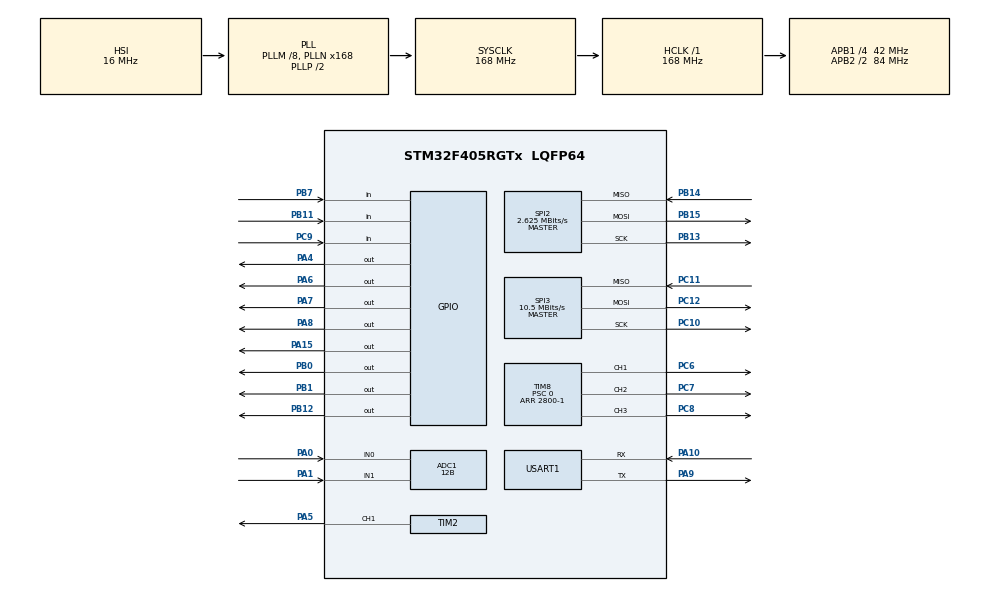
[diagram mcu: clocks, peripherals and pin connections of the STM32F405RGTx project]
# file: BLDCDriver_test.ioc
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ADC1.Channel-0\#ChannelRegularConversion=ADC_CHANNEL_1
ADC1.Channel-10\#ChannelRegularConversion=ADC_CHANNEL_0
ADC1.ContinuousConvMode=DISABLE
ADC1.DMAContinuousRequests=ENABLE
ADC1.DiscontinuousConvMode=DISABLE
ADC1.EOCSelection=ADC_EOC_SEQ_CONV
ADC1.ExternalTrigConv=ADC_EXTERNALTRIGCONV_T8_TRGO
ADC1.InjNumberOfConversion=0
ADC1.Mode=__NULL
ADC1.NbrOfConversion=2
ADC1.NbrOfConversionFlag=1
ADC1.Rank-0\#ChannelRegularConversion=1
ADC1.Rank-10\#ChannelRegularConversion=2
ADC1.Resolution=ADC_RESOLUTION_12B
ADC1.SamplingTime-0\#ChannelRegularConversion=ADC_SAMPLETIME_28CYCLES
ADC1.SamplingTime-10\#ChannelRegularConversion=ADC_SAMPLETIME_28CYCLES
ADC1.ScanConvMode=ENABLE
ADC1.master=1
Dma.ADC1.2.Direction=DMA_PERIPH_TO_MEMORY
Dma.ADC1.2.FIFOMode=DMA_FIFOMODE_DISABLE
Dma.ADC1.2.Instance=DMA2_Stream0
Dma.ADC1.2.MemDataAlignment=DMA_MDATAALIGN_HALFWORD
Dma.ADC1.2.MemInc=DMA_MINC_ENABLE
Dma.ADC1.2.Mode=DMA_CIRCULAR
Dma.ADC1.2.PeriphDataAlignment=DMA_PDATAALIGN_HALFWORD
Dma.ADC1.2.PeriphInc=DMA_PINC_DISABLE
Dma.ADC1.2.Priority=DMA_PRIORITY_LOW
Dma.Request0=USART1_RX
Dma.Request1=USART1_TX
Dma.Request2=ADC1
Dma.USART1_RX.0.Direction=DMA_PERIPH_TO_MEMORY
Dma.USART1_RX.0.FIFOMode=DMA_FIFOMODE_DISABLE
Dma.USART1_RX.0.Instance=DMA2_Stream2
Dma.USART1_RX.0.MemDataAlignment=DMA_MDATAALIGN_BYTE
Dma.USART1_RX.0.MemInc=DMA_MINC_ENABLE
Dma.USART1_RX.0.Mode=DMA_CIRCULAR
Dma.USART1_RX.0.PeriphDataAlignment=DMA_PDATAALIGN_BYTE
Dma.USART1_RX.0.PeriphInc=DMA_PINC_DISABLE
Dma.USART1_RX.0.Priority=DMA_PRIORITY_LOW
Dma.USART1_TX.1.Direction=DMA_MEMORY_TO_PERIPH
Dma.USART1_TX.1.FIFOMode=DMA_FIFOMODE_DISABLE
Dma.USART1_TX.1.Instance=DMA2_Stream7
Dma.USART1_TX.1.MemDataAlignment=DMA_MDATAALIGN_BYTE
Dma.USART1_TX.1.MemInc=DMA_MINC_ENABLE
Dma.USART1_TX.1.Mode=DMA_NORMAL
Dma.USART1_TX.1.PeriphDataAlignment=DMA_PDATAALIGN_BYTE
Dma.USART1_TX.1.PeriphInc=DMA_PINC_DISABLE
Dma.USART1_TX.1.Priority=DMA_PRIORITY_LOW
Mcu.Family=STM32F4
Mcu.Name=STM32F405RGTx
Mcu.Package=LQFP64
NVIC.ADC_IRQn=true\:0\:0\:false\:false\:true\:true\:true
NVIC.DMA2_Stream0_IRQn=true\:0\:0\:false\:false\:true\:false\:true
NVIC.DMA2_Stream2_IRQn=true\:0\:0\:false\:false\:true\:false\:true
NVIC.DMA2_Stream7_IRQn=true\:0\:0\:false\:false\:true\:false\:true
NVIC.PriorityGroup=NVIC_PRIORITYGROUP_4
NVIC.TIM6_DAC_IRQn=true\:0\:0\:false\:false\:true\:true\:true
NVIC.USART1_IRQn=true\:0\:0\:false\:false\:true\:true\:true
PA0-WKUP.Signal=ADCx_IN0
PA1.Signal=ADCx_IN1
PA10.Mode=Asynchronous
PA10.Signal=USART1_RX
PA15.GPIO_Speed=GPIO_SPEED_FREQ_VERY_HIGH
PA15.Signal=GPIO_Output
PA4.Signal=GPIO_Output
PA5.Signal=S_TIM2_CH1_ETR
PA6.Signal=GPIO_Output
PA7.GPIO_Speed=GPIO_SPEED_FREQ_VERY_HIGH
PA7.Signal=GPIO_Output
PA8.Signal=GPIO_Output
PA9.Mode=Asynchronous
PA9.Signal=USART1_TX
PB0.GPIO_Speed=GPIO_SPEED_FREQ_VERY_HIGH
PB0.Signal=GPIO_Output
PB1.GPIO_Speed=GPIO_SPEED_FREQ_VERY_HIGH
PB1.Signal=GPIO_Output
PB11.GPIO_PuPd=GPIO_PULLUP
PB11.Signal=GPIO_Input
PB12.GPIO_Speed=GPIO_SPEED_FREQ_VERY_HIGH
PB12.Signal=GPIO_Output
PB13.Mode=Full_Duplex_Master
PB13.Signal=SPI2_SCK
PB14.Mode=Full_Duplex_Master
PB14.Signal=SPI2_MISO
PB15.Mode=Full_Duplex_Master
PB15.Signal=SPI2_MOSI
PB7.Signal=GPIO_Input
PC10.Mode=Full_Duplex_Master
PC10.Signal=SPI3_SCK
PC11.Mode=Full_Duplex_Master
PC11.Signal=SPI3_MISO
PC12.Mode=Full_Duplex_Master
PC12.Signal=SPI3_MOSI
PC6.GPIO_Speed=GPIO_SPEED_FREQ_VERY_HIGH
PC6.Signal=S_TIM8_CH1
PC7.GPIO_Speed=GPIO_SPEED_FREQ_VERY_HIGH
PC7.Signal=S_TIM8_CH2
PC8.GPIO_Speed=GPIO_SPEED_FREQ_VERY_HIGH
PC8.Signal=S_TIM8_CH3
PC9.GPIO_PuPd=GPIO_PULLUP
PC9.Signal=GPIO_Input
ProjectManager.HeapSize=0x200
ProjectManager.StackSize=0x400
ProjectManager.TargetToolchain=STM32CubeIDE
RCC.48MHZClocksFreq_Value=84000000
RCC.AHBFreq_Value=168000000
RCC.APB1CLKDivider=RCC_HCLK_DIV4
RCC.APB1Freq_Value=42000000
RCC.APB1TimFreq_Value=84000000
RCC.APB2CLKDivider=RCC_HCLK_DIV2
RCC.APB2Freq_Value=84000000
RCC.APB2TimFreq_Value=168000000
RCC.CortexFreq_Value=168000000
RCC.HCLKFreq_Value=168000000
RCC.HSE_VALUE=25000000
RCC.HSI_VALUE=16000000
RCC.LSE_VALUE=32768
RCC.PLLM=8
RCC.PLLN=168
RCC.SYSCLKFreq_VALUE=168000000
RCC.SYSCLKSource=RCC_SYSCLKSOURCE_PLLCLK
RCC.VCOOutputFreq_Value=336000000
SH.ADCx_IN0.0=ADC1_IN0,IN0
SH.ADCx_IN1.0=ADC1_IN1,IN1
SH.S_TIM2_CH1_ETR.0=TIM2_CH1,PWM Generation1 CH1
SH.S_TIM8_CH1.0=TIM8_CH1,PWM Generation1 CH1
SH.S_TIM8_CH2.0=TIM8_CH2,PWM Generation2 CH2
SH.S_TIM8_CH3.0=TIM8_CH3,PWM Generation3 CH3
SPI2.BaudRatePrescaler=SPI_BAUDRATEPRESCALER_16
SPI2.CLKPhase=SPI_PHASE_2EDGE
SPI2.CalculateBaudRate=2.625 MBits/s
SPI2.DataSize=SPI_DATASIZE_8BIT
SPI2.Direction=SPI_DIRECTION_2LINES
SPI2.Mode=SPI_MODE_MASTER
SPI2.VirtualType=VM_MASTER
SPI3.BaudRatePrescaler=SPI_BAUDRATEPRESCALER_4
SPI3.CLKPhase=SPI_PHASE_2EDGE
SPI3.CalculateBaudRate=10.5 MBits/s
SPI3.DataSize=SPI_DATASIZE_8BIT
SPI3.Direction=SPI_DIRECTION_2LINES
SPI3.Mode=SPI_MODE_MASTER
SPI3.VirtualType=VM_MASTER
TIM2.AutoReloadPreload=TIM_AUTORELOAD_PRELOAD_ENABLE
TIM2.Channel-PWM\ Generation1\ CH1=TIM_CHANNEL_1
TIM2.Channel-PWM\ Generation2\ No\ Output=TIM_CHANNEL_2
TIM2.CounterMode=TIM_COUNTERMODE_CENTERALIGNED1
TIM2.Period=10000-1
TIM2.Prescaler=8400-1
TIM2.Pulse-PWM\ Generation2\ No\ Output=0
TIM2.TIM_MasterOutputTrigger=TIM_TRGO_UPDATE
TIM2.TIM_MasterSlaveMode=TIM_MASTERSLAVEMODE_DISABLE
TIM6.Period=8400-1
TIM6.Prescaler=0
TIM8.Channel-PWM\ Generation1\ CH1=TIM_CHANNEL_1
TIM8.Channel-PWM\ Generation2\ CH2=TIM_CHANNEL_2
TIM8.Channel-PWM\ Generation3\ CH3=TIM_CHANNEL_3
TIM8.CounterMode=TIM_COUNTERMODE_CENTERALIGNED1
TIM8.Period=2800-1
TIM8.Prescaler=0
TIM8.TIM_MasterOutputTrigger=TIM_TRGO_UPDATE
USART1.VirtualMode=VM_ASYNC
VP_TIM2_VS_ClockSourceINT.Mode=Internal
VP_TIM2_VS_no_output2.Mode=PWM Generation2 No Output
VP_TIM6_VS_ClockSourceINT.Mode=Enable_Timer
board=custom

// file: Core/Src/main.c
/* USER CODE BEGIN Header */
/**
  ******************************************************************************
  * @file           : main.c
  * @brief          : Main program body
  ******************************************************************************
  * @attention
  *
  * <h2><center>&copy; Copyright (c) 2020 STMicroelectronics.
  * All rights reserved.</center></h2>
  *
  * This software component is licensed by ST under BSD 3-Clause license,
  * the "License"; You may not use this file except in compliance with the
  * License. You may obtain a copy of the License at:
  *                        opensource.org/licenses/BSD-3-Clause
  *
  ******************************************************************************
  */
/* USER CODE END Header */

#include "main.h"
#include "adc.h"
#include "dma.h"
#include "spi.h"
#include "tim.h"
#include "usart.h"
#include "gpio.h"

/* USER CODE BEGIN Includes */
#include <math.h>
#include <stdio.h>
#include <stdlib.h>
#include <string.h>
#include "dma_printf.h"
#include "as5147.h"
#include "drv8305.h"
#include "bldc_calib.h"
#include "bldc_foc.h"

/* USER CODE END Includes */

/* USER CODE BEGIN PV */
//UART Receive
uint8_t uart_buf[6] = "0000\n\r";
uint8_t uart_flag = 0;

/* USER CODE END PV */

void SystemClock_Config(void);

/* USER CODE BEGIN 0 */
void HAL_TIM_PeriodElapsedCallback(TIM_HandleTypeDef *htim) {
	if (htim->Instance == TIM6) {
		static int32_t t = 0;

		BLDCVqConstControl(0, 5.0f);

		/*
		//sensored 120 deg conduction
		static float pwm_duty = 0.25;
		static uint16_t angle_data;
		static float elec_angle_deg;

		angle_data = (AS5147Read(AS5147_ANGLECOM) & 0x3FFF);		//mask lower 14bit
		elec_angle_deg = fmodf(((float)angle_data + ((float)0x3FFF / 12) - 361), ((float)0x3FFF / 12)) * ((float)(360 * 12) / 0x3FFF);

		if (HAL_GPIO_ReadPin(GPIOB, GPIO_PIN_7) == GPIO_PIN_SET) {
			if     ((90.0f  <= elec_angle_deg) && (elec_angle_deg < 150.0f)) {BLDC120DegConduction(BLDC_UtoV, pwm_duty);}
			else if((150.0f <= elec_angle_deg) && (elec_angle_deg < 210.0f)) {BLDC120DegConduction(BLDC_UtoW, pwm_duty);}
			else if((210.0f <= elec_angle_deg) && (elec_angle_deg < 270.0f)) {BLDC120DegConduction(BLDC_VtoW, pwm_duty);}
			else if((270.0f <= elec_angle_deg) && (elec_angle_deg < 330.0f)) {BLDC120DegConduction(BLDC_VtoU, pwm_duty);}
			else if((330.0f <= elec_angle_deg) || (elec_angle_deg <  30.0f)) {BLDC120DegConduction(BLDC_WtoU, pwm_duty);}
			else if(( 30.0f <= elec_angle_deg) && (elec_angle_deg <  90.0f)) {BLDC120DegConduction(BLDC_WtoV, pwm_duty);}
		} else {
			__HAL_TIM_SET_COMPARE(&htim8, TIM_CHANNEL_1, 0);
			__HAL_TIM_SET_COMPARE(&htim8, TIM_CHANNEL_2, 0);
			__HAL_TIM_SET_COMPARE(&htim8, TIM_CHANNEL_3, 0);
			HAL_GPIO_WritePin(GPIOA, GPIO_PIN_7, GPIO_PIN_RESET);
			HAL_GPIO_WritePin(GPIOB, GPIO_PIN_0, GPIO_PIN_RESET);
			HAL_GPIO_WritePin(GPIOB, GPIO_PIN_1, GPIO_PIN_RESET);
		}
		*/

		if (t >= 5000) {
			HAL_GPIO_TogglePin(GPIOA, GPIO_PIN_6);
			t = 0;
		} else {
			t++;
		}
	}
}

//printf settings
#ifdef __GNUC__
#define PUTCHAR_PROTOTYPE int __io_putchar(int ch)
#else
#define PUTCHAR_PROTOTYPE int fputc(int ch, FILE *f)
#endif /* __GNUC__ */
void __io_putchar(uint8_t ch) {
	dma_printf_putc(ch);
}

/* USER CODE END 0 */

int main(void)
{

  /* MCU Configuration--------------------------------------------------------*/

  /* Reset of all peripherals, Initializes the Flash interface and the Systick. */
  HAL_Init();

  /* Configure the system clock */
  SystemClock_Config();

  /* Initialize all configured peripherals */
  MX_GPIO_Init();
  MX_DMA_Init();
  MX_USART1_UART_Init();
  MX_SPI2_Init();
  MX_TIM8_Init();
  MX_SPI3_Init();
  MX_TIM6_Init();
  MX_ADC1_Init();
  MX_TIM2_Init();
  /* USER CODE BEGIN 2 */
  //wait after power on
  HAL_Delay(10);

  //printf settings
  dma_printf_init(&huart1);
  setbuf(stdin, NULL);
  setbuf(stdout, NULL);
  setbuf(stderr, NULL);
  printf("Hello BLDCDriver_v1!\n");

  //dummy spi com(to avoid error at the first com)
  AS5147Read(AS5147_ANGLECOM);
  DRV8305Read(DRV8305_WARNING_WATCHDOG_RESET);

  //current sense
  BLDCStartCurrentSense();

  //Enable BLDC and initialize gate-driver
  BLDCEnable();		//must be run before DRV8305Init()
  DRV8305Init();

  while (HAL_GPIO_ReadPin(GPIOB, GPIO_PIN_7) == GPIO_PIN_RESET);
//  BLDCCalibZeroPos();

  //start timer interrupt
  HAL_TIM_Base_Start_IT(&htim6);

  /* USER CODE END 2 */

  /* Infinite loop */
  while (1)
  {

    /* USER CODE BEGIN 3 */
	  if (idx == 6000) {
		  for (int32_t i = 0; i < 1000; i++) {
			  printf("%f %f %f %f %f %f\n", g_curt[i][0], g_curt[i][1], g_curt[i][2], g_curt[i][3], g_curt[i][4], g_curt[i][5]);
			  HAL_Delay(5);
		  }
		  idx = 6001;
	  }
  }
  /* USER CODE END 3 */
}

void SystemClock_Config(void)
{
  RCC_OscInitTypeDef RCC_OscInitStruct = {0};
  RCC_ClkInitTypeDef RCC_ClkInitStruct = {0};

  /** Configure the main internal regulator output voltage
  */
  __HAL_RCC_PWR_CLK_ENABLE();
  __HAL_PWR_VOLTAGESCALING_CONFIG(PWR_REGULATOR_VOLTAGE_SCALE1);
  /** Initializes the CPU, AHB and APB busses clocks
  */
  RCC_OscInitStruct.OscillatorType = RCC_OSCILLATORTYPE_HSI;
  RCC_OscInitStruct.HSIState = RCC_HSI_ON;
  RCC_OscInitStruct.HSICalibrationValue = RCC_HSICALIBRATION_DEFAULT;
  RCC_OscInitStruct.PLL.PLLState = RCC_PLL_ON;
  RCC_OscInitStruct.PLL.PLLSource = RCC_PLLSOURCE_HSI;
  RCC_OscInitStruct.PLL.PLLM = 8;
  RCC_OscInitStruct.PLL.PLLN = 168;
  RCC_OscInitStruct.PLL.PLLP = RCC_PLLP_DIV2;
  RCC_OscInitStruct.PLL.PLLQ = 4;
  if (HAL_RCC_OscConfig(&RCC_OscInitStruct) != HAL_OK)
  {
    Error_Handler();
  }
  /** Initializes the CPU, AHB and APB busses clocks
  */
  RCC_ClkInitStruct.ClockType = RCC_CLOCKTYPE_HCLK|RCC_CLOCKTYPE_SYSCLK
                              |RCC_CLOCKTYPE_PCLK1|RCC_CLOCKTYPE_PCLK2;
  RCC_ClkInitStruct.SYSCLKSource = RCC_SYSCLKSOURCE_PLLCLK;
  RCC_ClkInitStruct.AHBCLKDivider = RCC_SYSCLK_DIV1;
  RCC_ClkInitStruct.APB1CLKDivider = RCC_HCLK_DIV4;
  RCC_ClkInitStruct.APB2CLKDivider = RCC_HCLK_DIV2;

  if (HAL_RCC_ClockConfig(&RCC_ClkInitStruct, FLASH_LATENCY_5) != HAL_OK)
  {
    Error_Handler();
  }
}

/* USER CODE BEGIN 4 */
//UART Callback for printf(...)
void HAL_UART_RxCpltCallback(UART_HandleTypeDef *UartHandle) {
	uart_flag=1;
	HAL_UART_Receive_IT(&huart1, uart_buf, 4);
}
void HAL_UART_TxCpltCallback(UART_HandleTypeDef *huart) {
    uart_com_send_it(huart);
    dma_printf_send_it(huart);
}

/* USER CODE END 4 */

void Error_Handler(void)
{
}

/************************ (C) COPYRIGHT STMicroelectronics *****END OF FILE****/
